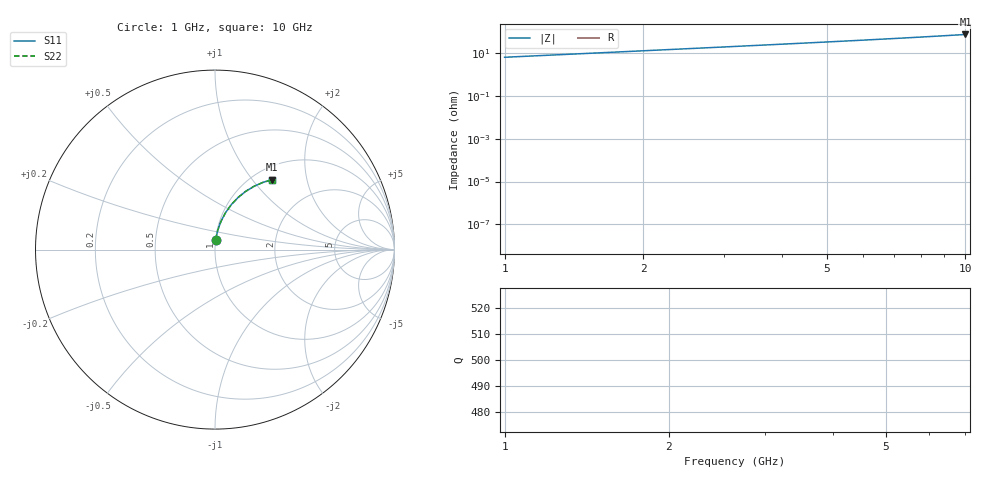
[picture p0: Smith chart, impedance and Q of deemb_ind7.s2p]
! Created Tue Aug 16 12:00:34 2022
# hz S ma R 50
! 2 Port Network Data from SP1.SP block
! freq  magS11  angS11  magS21  angS21  magS12  angS12  magS22  angS22
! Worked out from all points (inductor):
!   10 points, 1 GHz to 10 GHz, reference 50 ohm
!   read as 1/Y11, port 2 shorted: L = 1.01 nH near 1 GHz
!   highest |Z| = 72.9 ohm at 10 GHz (marker M1)
1e9  0.05492 86.0  0.9985 -4.0  0.9985 -4.0  0.05492 86.0
2e9  0.1095 81.9  0.994 -8.1  0.994 -8.1  0.1095 81.9
3e9  0.1635 77.9  0.9865 -12.1  0.9865 -12.1  0.1635 77.9
4e9  0.2165 73.9  0.9763 -16.1  0.9763 -16.1  0.2165 73.9
5e9  0.2683 69.9  0.9633 -20.1  0.9633 -20.1  0.2683 69.9
6e9  0.3186 66.0  0.9479 -24.0  0.9479 -24.0  0.3186 66.0
7e9  0.3673 62.2  0.9301 -27.8  0.9301 -27.8  0.3673 62.2
8e9  0.4141 58.3  0.9102 -31.7  0.9102 -31.7  0.4141 58.3
9e9  0.4588 54.6  0.8885 -35.4  0.8885 -35.4  0.4588 54.6
1e10  0.5015 50.9  0.8652 -39.1  0.8652 -39.1  0.5015 50.9
